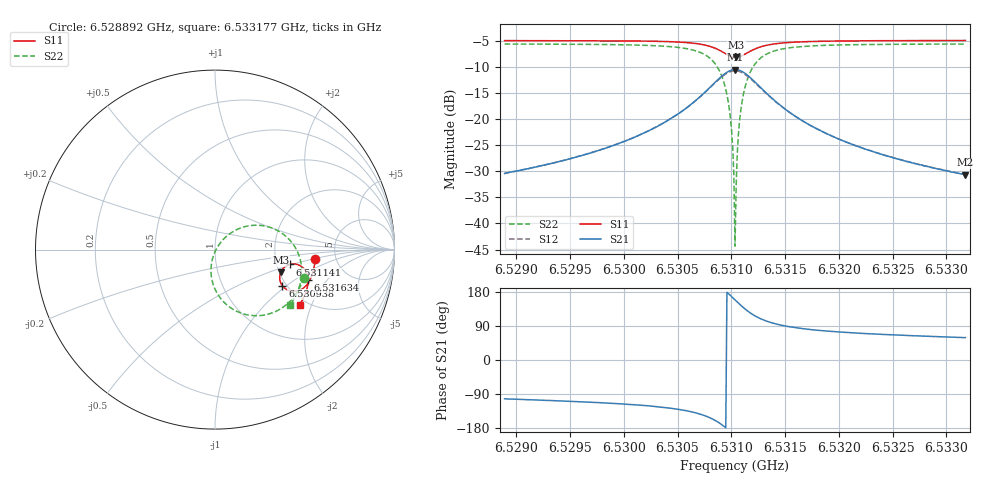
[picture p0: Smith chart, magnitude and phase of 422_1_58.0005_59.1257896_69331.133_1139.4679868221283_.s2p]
#  HZ  S  RI  R  50.00
! Rohde & Schwarz Vector Network Analyzer
! Rohde-Schwarz,ZNB20-2Port,1311601062101988,3.16
! Created: UTC 3/21/2024, 1:09:11 AM
! freq[Hz]  re:S11  im:S11  re:S21  im:S21  re:S12  im:S12  re:S22  im:S22
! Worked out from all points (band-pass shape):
!   401 points, 6.528892 GHz to 6.533177 GHz, reference 50 ohm
!   highest |S21| = -10.55 dB at 6.531034 GHz (marker M1); lowest = -30.7 dB at 6.533177 GHz (marker M2)
!   |S21| within 3 dB of the highest: 6.530822 GHz to 6.53125 GHz (427.9 kHz wide, 0.00655 % of centre)
!   lowest |S11| = -8.2 dB at 6.531045 GHz (marker M3), VSWR 2.27, Z = 102 - j30.4 ohm
!   |S11| at or under -10 dB: nowhere
!   |S22| runs from -44.4 to -5.7 dB; largest |S21 - S12| = 0.011
!   S11 on the Smith chart (normalised r, x): 6.528892 GHz: 3.47, -0.54; 6.530938 GHz: 1.90, -0.94; 6.531141 GHz: 2.36, -0.48; 6.531634 GHz: 2.71, -1.29; 6.533177 GHz: 1.82, -1.65
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6.5288919e9  0.5587 -0.0532  -0.00648 -0.0293  -0.00707 -0.0292  0.4966 -0.1562
6.5296096e9  0.5487 -0.1123  -0.0155 -0.0418  -0.0164 -0.0416  0.467 -0.222
6.5303273e9  0.5211 -0.1823  -0.048 -0.0719  -0.0499 -0.0705  0.3885 -0.3141
6.5307558e9  0.4525 -0.2318  -0.1517 -0.0978  -0.1541 -0.0918  0.1884 -0.3649
6.5308629e9  0.4092 -0.2274  -0.2192 -0.0729  -0.2187 -0.0639  0.0731 -0.3139
6.5309379e9  0.3753 -0.2014  -0.2692 -0.0169  -0.2641 -0.00751  -0.00379 -0.2116
6.5309915e9  0.3611 -0.167  -0.2864 0.0485  -0.2775 0.0556  -0.022 -0.1002
6.5310022e9  0.3604 -0.159  -0.2861 0.0631  -0.2769 0.0694  -0.0193 -0.076
6.5310129e9  0.3604 -0.1509  -0.2843 0.0779  -0.2748 0.0834  -0.0142 -0.0519
6.5310236e9  0.3615 -0.1427  -0.2813 0.0928  -0.2712 0.0972  -0.00674 -0.0281
6.5310343e9  0.3633 -0.1347  -0.2768 0.1072  -0.2665 0.1108  0.00321 -0.00513
6.531045e9  0.3661 -0.1269  -0.2706 0.1211  -0.2603 0.1237  0.0154 0.0168
6.5310557e9  0.3696 -0.1195  -0.2631 0.1342  -0.2531 0.136  0.0295 0.0373
6.5310664e9  0.374 -0.1125  -0.2545 0.1466  -0.2447 0.1475  0.0454 0.0562
6.5310879e9  0.3845 -0.1003  -0.2346 0.1679  -0.2254 0.1672  0.0817 0.0881
6.5311414e9  0.4164 -0.0826  -0.1763 0.1998  -0.1699 0.1969  0.1833 0.1316
6.5312057e9  0.4529 -0.0816  -0.1122 0.204  -0.1085 0.2011  0.2916 0.1281
6.5313021e9  0.4888 -0.0999  -0.0491 0.1795  -0.0474 0.1778  0.3955 0.0736
6.5316342e9  0.5189 -0.1672  0.0108 0.0992  0.0118 0.099  0.4817 -0.0931
6.531752e9  0.5187 -0.184  0.0148 0.0835  0.0158 0.0833  0.483 -0.1282
6.5324697e9  0.4989 -0.2559  0.0172 0.04  0.0179 0.0398  0.4555 -0.2444
6.5331768e9  0.4713 -0.3081  0.0149 0.0251  0.0155 0.0248  0.4204 -0.3059
